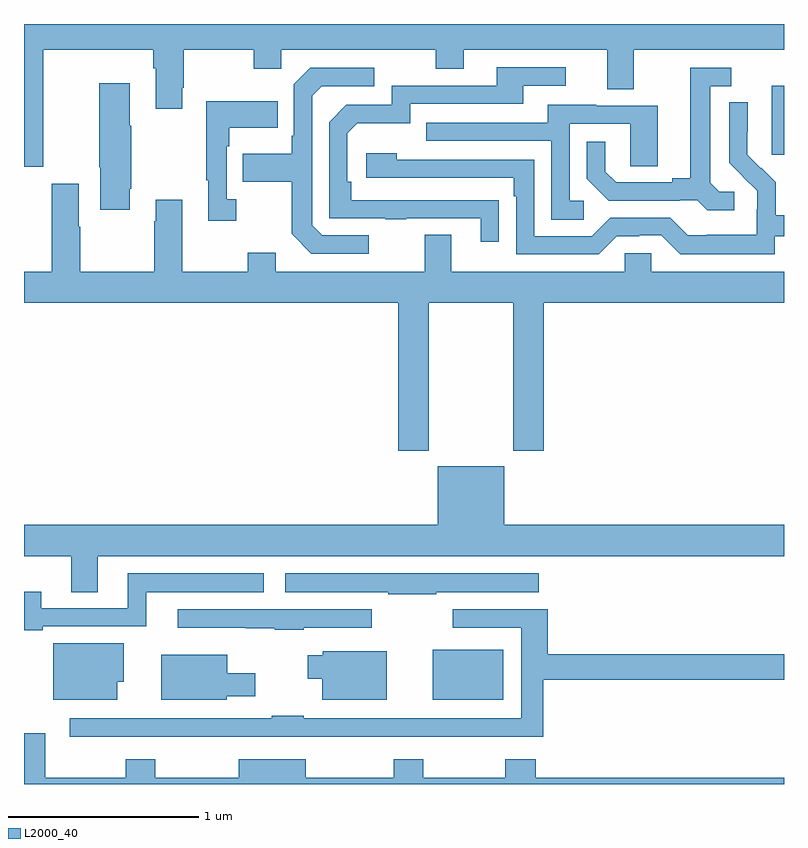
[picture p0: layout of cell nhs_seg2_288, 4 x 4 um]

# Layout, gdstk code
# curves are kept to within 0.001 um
import gdstk
lib = gdstk.Library(unit=1e-6, precision=1e-09)
def R(c, l, rs):  # rectangles x0, y0, x1, y1
    for r in rs: c.add(gdstk.rectangle(r[:2], r[2:], *l))
def P(c, l, *ps):  # polygons
    for p in ps: c.add(gdstk.Polygon(p, *l))
L2000_40 = (2000, 40)

nhs_seg2_288 = lib.new_cell('nhs_seg2_288')
R(nhs_seg2_288, L2000_40, [(127.151,616.244,127.522,616.507), (128.936,619.113,129,619.474)])
P(nhs_seg2_288, L2000_40, [(129,619.8),(125,619.8),(125,619.05),(125.101,619.05),(125.101,619.664),(125.681,619.664),(125.681,619.568),(125.693,619.568),(125.693,619.353),(125.833,619.353),(125.833,619.465),(125.841,619.465),(125.841,619.664),(126.208,619.664),(126.208,619.565),(126.354,619.565),(126.354,619.664),(127.168,619.664),(127.168,619.565),(127.315,619.565),(127.315,619.664),(128.069,619.664),(128.069,619.456),(128.209,619.456),(128.209,619.664),(129,619.664)],
  [(127.499,618.872),(126.722,618.873),(126.722,618.97),(126.702,618.97),(126.702,619.224),(126.755,619.277),(127.032,619.277),(127.032,619.38),(127.627,619.38),(127.627,619.476),(127.852,619.476),(127.852,619.572),(127.487,619.572),(127.487,619.476),(126.936,619.476),(126.936,619.374),(126.696,619.374),(126.606,619.284),(126.606,618.777),(126.901,618.777),(126.901,618.772),(127.013,618.772),(127.013,618.777),(127.403,618.777),(127.403,618.654),(127.499,618.654)],
  [(128.739,618.918),(128.658,618.918),(128.611,618.965),(128.611,619.473),(128.722,619.473),(128.722,619.569),(128.507,619.569),(128.507,618.989),(128.411,618.989),(128.411,618.966),(128.116,618.966),(128.059,619.023),(128.059,619.18),(127.962,619.18),(127.962,618.986),(128.078,618.87),(128.45,618.87),(128.45,618.873),(128.544,618.873),(128.596,618.821),(128.739,618.821)],
  [(126.814,618.687),(126.57,618.687),(126.516,618.741),(126.516,619.422),(126.567,619.473),(126.844,619.473),(126.844,619.569),(126.507,619.569),(126.42,619.482),(126.42,619.213),(126.408,619.213),(126.408,619.117),(126.151,619.117),(126.151,618.97),(126.408,618.97),(126.408,618.697),(126.513,618.591),(126.814,618.591)],
  [(125.557,618.934),(125.565,618.934),(125.565,619.265),(125.557,619.265),(125.557,619.489),(125.395,619.489),(125.395,619.045),(125.402,619.045),(125.402,618.822),(125.557,618.822)],
  [(126.118,618.878),(126.066,618.878),(126.066,619.157),(126.079,619.157),(126.079,619.253),(126.335,619.253),(126.335,619.393),(125.958,619.393),(125.958,618.977),(125.969,618.977),(125.969,618.765),(126.118,618.765)],
  [(128.952,618.684),(129,618.684),(129,618.793),(128.957,618.793),(128.957,618.967),(128.88,619.044),(128.877,619.041),(128.807,619.112),(128.808,619.388),(128.712,619.388),(128.712,619.07),(128.858,618.922),(128.858,618.825),(128.856,618.825),(128.856,618.691),(128.593,618.691),(128.593,618.687),(128.493,618.687),(128.4,618.78),(128.085,618.78),(127.989,618.684),(127.686,618.684),(127.686,619.086),(126.962,619.086),(126.962,619.12),(126.801,619.12),(126.801,618.99),(127.577,618.99),(127.577,618.893),(127.59,618.893),(127.59,618.588),(128.025,618.588),(128.121,618.684),(128.239,618.684),(128.239,618.687),(128.355,618.687),(128.455,618.587),(128.952,618.587)],
  [(127.945,618.87),(127.872,618.87),(127.872,619.275),(128.19,619.275),(128.19,619.051),(128.335,619.051),(128.335,619.371),(128.011,619.371),(128.011,619.375),(127.757,619.375),(127.757,619.281),(127.117,619.281),(127.117,619.185),(127.776,619.185),(127.776,618.769),(127.945,618.769)],
  [(127.131,618.332),(127.576,618.332),(127.576,617.553),(127.736,617.553),(127.736,618.332),(129,618.332),(129,618.496),(128.301,618.496),(128.301,618.594),(128.163,618.594),(128.163,618.496),(127.249,618.496),(127.249,618.691),(127.109,618.691),(127.109,618.496),(126.325,618.496),(126.325,618.595),(126.178,618.595),(126.178,618.496),(125.833,618.496),(125.833,618.874),(125.693,618.874),(125.693,618.761),(125.686,618.761),(125.686,618.496),(125.295,618.496),(125.295,618.734),(125.287,618.734),(125.287,618.958),(125.147,618.958),(125.147,618.496),(125,618.496),(125,618.332),(126.971,618.332),(126.971,617.553),(127.131,617.553)],
  [(125.389,617),(129,617),(129,617.164),(127.528,617.164),(127.528,617.473),(127.178,617.473),(127.178,617.164),(125,617.164),(125,617),(125.249,617),(125.249,616.81),(125.389,616.81)],
  [(127.169,616.808),(127.708,616.808),(127.708,616.909),(126.375,616.909),(126.375,616.808),(126.916,616.808),(126.916,616.798),(127.169,616.798)],
  [(125.098,616.629),(125.644,616.629),(125.644,616.808),(126.262,616.808),(126.262,616.909),(125.546,616.909),(125.546,616.725),(125.092,616.725),(125.092,616.813),(125,616.813),(125,616.609),(125.098,616.609)],
  [(126.035,616.05),(126.58,616.05),(126.58,616.049),(126.857,616.049),(126.857,616.05),(127.189,616.05),(127.189,616.049),(127.445,616.049),(127.445,616.05),(127.733,616.05),(127.733,616.348),(129,616.348),(129,616.484),(127.757,616.484),(127.757,616.719),(127.257,616.719),(127.257,616.623),(127.617,616.623),(127.617,616.146),(126.473,616.146),(126.473,616.159),(126.304,616.159),(126.304,616.146),(125.241,616.146),(125.241,616.05),(125.779,616.05),(125.779,616.049),(126.035,616.049)],
  [(126.473,616.623),(126.829,616.623),(126.829,616.719),(125.808,616.719),(125.808,616.622),(126.166,616.622),(126.166,616.621),(126.32,616.621),(126.32,616.611),(126.473,616.611)],
  [(125.491,616.337),(125.524,616.337),(125.524,616.54),(125.153,616.54),(125.153,616.244),(125.491,616.244)],
  [(126.91,616.498),(126.573,616.498),(126.573,616.477),(126.494,616.477),(126.494,616.355),(126.569,616.355),(126.569,616.244),(126.91,616.244)],
  [(126.066,616.262),(126.217,616.262),(126.217,616.384),(126.07,616.384),(126.07,616.48),(125.723,616.48),(125.723,616.244),(126.066,616.244)],
  [(129,615.832),(127.694,615.832),(127.694,615.931),(127.534,615.931),(127.534,615.832),(127.101,615.832),(127.101,615.931),(126.946,615.931),(126.946,615.832),(126.484,615.832),(126.484,615.931),(126.131,615.931),(126.131,615.832),(125.691,615.832),(125.691,615.931),(125.536,615.931),(125.536,615.832),(125.113,615.832),(125.113,616.066),(125,616.066),(125,615.8),(129,615.8)])

lib.write_gds('nhs_seg2_288.gds')
